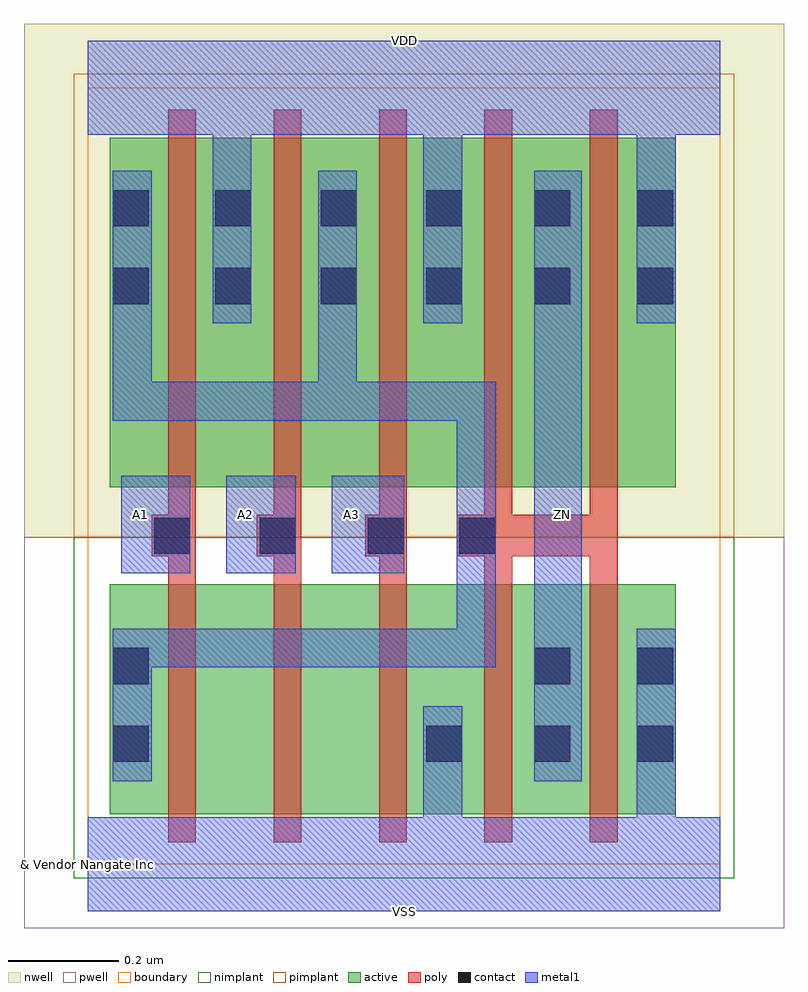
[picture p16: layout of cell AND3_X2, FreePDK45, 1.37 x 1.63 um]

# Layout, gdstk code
import gdstk
lib = gdstk.Library(unit=1e-6, precision=1e-10)
def R(c, l, rs):  # rectangles x0, y0, x1, y1
    for r in rs: c.add(gdstk.rectangle(r[:2], r[2:], *l))
def A(c, l, x, y, w, h, nx, ny, dx, dy):  # array of equal rectangles
    R(c, l, [(x+i*dx, y+j*dy, x+i*dx+w, y+j*dy+h) for i in range(nx) for j in range(ny)])
def P(c, l, *ps):  # polygons
    for p in ps: c.add(gdstk.Polygon(p, *l))
active = (1, 0)
pwell = (2, 0)
nwell = (3, 0)
nimplant = (4, 0)
pimplant = (5, 0)
poly = (9, 0)
contact = (10, 0)
metal1 = (11, 0)
boundary = (235, 0)

and3_x2 = lib.new_cell('AND3_X2')
R(and3_x2, active, [(0.04,0.09,1.06,0.505), (0.04,0.68,1.06,1.31)])
R(and3_x2, pwell, [(-0.115,-0.115,1.255,0.59)])
R(and3_x2, nwell, [(-0.115,0.59,1.255,1.515)])
R(and3_x2, nimplant, [(-0.025,-0.025,1.165,0.59)])
R(and3_x2, pimplant, [(-0.025,0.59,1.165,1.425)])
P(and3_x2, poly, [(0.115,0.555),(0.145,0.555),(0.145,0.04),(0.195,0.04),(0.195,1.36),(0.145,1.36),(0.145,0.63),(0.115,0.63)],
  [(0.305,0.555),(0.335,0.555),(0.335,0.04),(0.385,0.04),(0.385,1.36),(0.335,1.36),(0.335,0.63),(0.305,0.63)],
  [(0.5,0.555),(0.525,0.555),(0.525,0.04),(0.575,0.04),(0.575,1.36),(0.525,1.36),(0.525,0.63),(0.5,0.63)],
  [(0.665,0.555),(0.715,0.555),(0.715,0.04),(0.765,0.04),(0.765,0.555),(0.905,0.555),(0.905,0.04),(0.955,0.04),(0.955,1.36),(0.905,1.36),(0.905,0.63),(0.765,0.63),(0.765,1.36),(0.715,1.36),(0.715,0.63),(0.665,0.63)])
A(and3_x2, contact, 0.23, 1.01, 0.065, 0.065, 3, 2, 0.19, 0.14)
R(and3_x2, contact, [(0.045,0.185,0.11,0.25), (0.61,0.185,0.675,0.25), (0.805,0.185,0.87,0.25), (0.99,0.185,1.055,0.25), (0.045,0.325,0.11,0.39), (0.805,0.325,0.87,0.39), (0.99,0.325,1.055,0.39), (0.12,0.56,0.185,0.625), (0.31,0.56,0.375,0.625), (0.505,0.56,0.57,0.625), (0.67,0.56,0.735,0.625), (0.045,1.01,0.11,1.075), (0.805,1.01,0.87,1.075), (0.99,1.01,1.055,1.075), (0.045,1.15,0.11,1.215), (0.805,1.15,0.87,1.215), (0.99,1.15,1.055,1.215)])
R(and3_x2, metal1, [(0.805,0.15,0.89,1.25), (0.06,0.525,0.185,0.7), (0.25,0.525,0.375,0.7), (0.44,0.525,0.57,0.7)])
P(and3_x2, metal1, [(0.045,0.8),(0.665,0.8),(0.665,0.425),(0.045,0.425),(0.045,0.15),(0.115,0.15),(0.115,0.355),(0.735,0.355),(0.735,0.87),(0.485,0.87),(0.485,1.25),(0.415,1.25),(0.415,0.87),(0.115,0.87),(0.115,1.25),(0.045,1.25)],
  [(0,-0.085),(1.14,-0.085),(1.14,0.085),(1.06,0.085),(1.06,0.425),(0.99,0.425),(0.99,0.085),(0.675,0.085),(0.675,0.285),(0.605,0.285),(0.605,0.085),(0,0.085)],
  [(0,1.315),(0.225,1.315),(0.225,0.975),(0.295,0.975),(0.295,1.315),(0.605,1.315),(0.605,0.975),(0.675,0.975),(0.675,1.315),(0.99,1.315),(0.99,0.975),(1.06,0.975),(1.06,1.315),(1.14,1.315),(1.14,1.485),(0,1.485)])
R(and3_x2, boundary, [(0,0,1.14,1.4)])
and3_x2.add(gdstk.Label('A1', (0.095,0.63), layer=11, texttype=0))
and3_x2.add(gdstk.Label('A2', (0.285,0.63), layer=11, texttype=0))
and3_x2.add(gdstk.Label('A3', (0.475,0.63), layer=11, texttype=0))
and3_x2.add(gdstk.Label('VDD', (0.57,1.485), layer=11, texttype=0))
and3_x2.add(gdstk.Label('VSS', (0.57,-0.085), layer=11, texttype=0))
and3_x2.add(gdstk.Label('ZN', (0.855,0.63), layer=11, texttype=0))
and3_x2.add(gdstk.Label('& Vendor Nangate Inc', (0,0), layer=63, texttype=63))
and3_x2.add(gdstk.Label('& Product Open Cell Library', (0,0), layer=63, texttype=63))
and3_x2.add(gdstk.Label('& Version 2010_12', (0,0), layer=63, texttype=63))
and3_x2.add(gdstk.Label('& Instance AND3_X2', (0,0), layer=63, texttype=63))

lib.write_gds('AND3_X2.gds')
